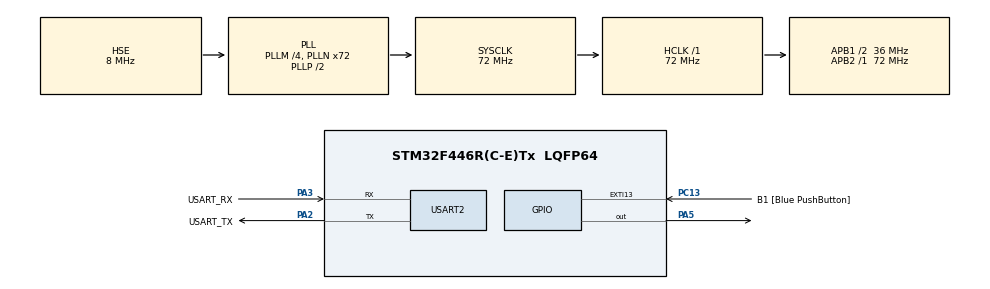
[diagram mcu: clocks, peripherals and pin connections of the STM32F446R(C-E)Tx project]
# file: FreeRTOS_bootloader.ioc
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Mcu.Family=STM32F4
Mcu.Name=STM32F446R(C-E)Tx
Mcu.Package=LQFP64
NVIC.PriorityGroup=NVIC_PRIORITYGROUP_0
PA13.GPIO_Label=TMS
PA13.Mode=Serial_Wire
PA13.Signal=SYS_JTMS-SWDIO
PA14.GPIO_Label=TCK
PA14.Mode=Serial_Wire
PA14.Signal=SYS_JTCK-SWCLK
PA2.GPIO_Label=USART_TX
PA2.Mode=Asynchronous
PA2.Signal=USART2_TX
PA3.GPIO_Label=USART_RX
PA3.Mode=Asynchronous
PA3.Signal=USART2_RX
PA5.Signal=GPIO_Output
PB3.GPIO_Label=SWO
PB3.Signal=SYS_JTDO-SWO
PC13.GPIO_Label=B1 [Blue PushButton]
PC13.GPIO_ModeDefaultEXTI=GPIO_MODE_IT_FALLING
PC13.Signal=GPXTI13
PC14-OSC32_IN.Mode=LSE-External-Oscillator
PC14-OSC32_IN.Signal=RCC_OSC32_IN
PC15-OSC32_OUT.Mode=LSE-External-Oscillator
PC15-OSC32_OUT.Signal=RCC_OSC32_OUT
PH0-OSC_IN.Mode=HSE-External-Oscillator
PH0-OSC_IN.Signal=RCC_OSC_IN
PH1-OSC_OUT.Mode=HSE-External-Oscillator
PH1-OSC_OUT.Signal=RCC_OSC_OUT
ProjectManager.HeapSize=0x200
ProjectManager.StackSize=0x400
ProjectManager.TargetToolchain=STM32CubeIDE
RCC.48MHZClocksFreq_Value=84000000
RCC.AHBFreq_Value=72000000
RCC.APB1CLKDivider=RCC_HCLK_DIV2
RCC.APB1Freq_Value=36000000
RCC.APB1TimFreq_Value=72000000
RCC.APB2Freq_Value=72000000
RCC.APB2TimFreq_Value=72000000
RCC.CortexFreq_Value=72000000
RCC.FLatency-AdvancedSettings=FLASH_LATENCY_2
RCC.HCLKFreq_Value=72000000
RCC.HSE_VALUE=8000000
RCC.HSI_VALUE=16000000
RCC.PLLM=4
RCC.PLLN=72
RCC.PLLQ=3
RCC.PLLSourceVirtual=RCC_PLLSOURCE_HSE
RCC.SYSCLKFreq_VALUE=72000000
RCC.SYSCLKSource=RCC_SYSCLKSOURCE_PLLCLK
RCC.USBFreq_Value=48000000
RCC.VCOOutputFreq_Value=144000000
USART2.VirtualMode=VM_ASYNC
board=NUCLEO-F446RE

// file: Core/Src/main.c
/* USER CODE BEGIN Header */
/**
  ******************************************************************************
  * @file           : main.c
  * @brief          : Main program body
  ******************************************************************************
  * @attention
  *
  * Copyright (c) 2025 STMicroelectronics.
  * All rights reserved.
  *
  * This software is licensed under terms that can be found in the LICENSE file
  * in the root directory of this software component.
  * If no LICENSE file comes with this software, it is provided AS-IS.
  *
  ******************************************************************************
  */
/* USER CODE END Header */
#include "main.h"

/* USER CODE BEGIN Includes */
#include <stdio.h>
#include <string.h>
/* USER CODE END Includes */

/* USER CODE BEGIN PTD */
typedef void (*pFunction)(void);

typedef enum {
    SLOT_A = 0,
    SLOT_B = 1
} app_slot_t;

typedef struct {
	uint32_t is_valid;    // 0xA5A5A5A5 if metadata is valid
	uint32_t version;
    uint32_t active_slot; // SLOT_A or SLOT_B
    uint32_t crc;         // Expected CRC32 of active image
    uint32_t image_size;  // Size of active image in bytes
    uint32_t reserved[2]; // Reserved for future use
} BootMetadata_t;

/* USER CODE END PTD */

/* USER CODE BEGIN PD */
extern uint32_t _estack;  // Defined in linker script
/* USER CODE END PD */

/* USER CODE BEGIN PM */
#define SLOT_A_ADDR   0x08010000
#define SLOT_B_ADDR   0x08040000
#define METADATA_ADDR 0x0800C000

// STM32F446RE RAM range: 0x20000000 - 0x2001FFFF (128KB)
#define RAM_START     0x20000000
#define RAM_END       0x20020000
/* USER CODE END PM */

UART_HandleTypeDef huart2;

/* USER CODE BEGIN PV */
extern int _bflag;

/* USER CODE END PV */

void SystemClock_Config(void);
static void MX_GPIO_Init(void);
static void MX_USART2_UART_Init(void);
/* USER CODE BEGIN PFP */
void jump_to_application(uint32_t app_address);
uint32_t calculate_crc32(uint32_t *data, uint32_t length_words);
uint32_t calculate_flash_crc(uint32_t start_addr, uint32_t size_bytes);
uint8_t validate_crc(uint32_t app_addr, uint32_t expected_crc, uint32_t image_size);
uint8_t is_valid_application(uint32_t app_addr);
HAL_StatusTypeDef initialize_first_boot_metadata();
void check_and_clear_flash_protection();

/* USER CODE END PFP */

/* USER CODE BEGIN 0 */
void log(const char *msg) {
    HAL_UART_Transmit(&huart2, (uint8_t *)msg, strlen(msg), HAL_MAX_DELAY);
}

// Note: Metadata is now dynamically managed in flash
// Initial metadata should be written by OTA process or flash programmer

/* USER CODE END 0 */

int main(void)
{

  /* MCU Configuration--------------------------------------------------------*/

  /* Reset of all peripherals, Initializes the Flash interface and the Systick. */
  HAL_Init();

  /* Configure the system clock */
  SystemClock_Config();

  /* Initialize all configured peripherals */
  MX_GPIO_Init();
  MX_USART2_UART_Init();
  /* USER CODE BEGIN 2 */
  log("Bootloader started...\r\n");

  // Check and clear any flash protection that might interfere with programming
  check_and_clear_flash_protection();

  // Read metadata from flash (not from const section)
  BootMetadata_t *metadata = (BootMetadata_t *)METADATA_ADDR;

  char debug_buf[150];
  sprintf(debug_buf, "Reading metadata from 0x%08X\r\n", (unsigned int)METADATA_ADDR);
  log(debug_buf);

  if (metadata->is_valid != 0xA5A5A5A5) {
	  sprintf(debug_buf, "Metadata invalid! Read value: 0x%08X (expected: 0xA5A5A5A5)\r\n",
	          (unsigned int)metadata->is_valid);
	  log(debug_buf);

	  // First boot - initialize metadata by scanning for valid applications
	  HAL_StatusTypeDef init_status = initialize_first_boot_metadata();
	  if (init_status != HAL_OK) {
		  log("Failed to initialize metadata! Defaulting to Slot A\r\n");
		  jump_to_application(SLOT_A_ADDR);
	  }

	  // Re-read metadata after initialization
	  metadata = (BootMetadata_t *)METADATA_ADDR;
	  if (metadata->is_valid != 0xA5A5A5A5) {
		  log("Metadata still invalid after initialization! Defaulting to Slot A\r\n");
		  jump_to_application(SLOT_A_ADDR);
	  }

	  log("Metadata initialized successfully, continuing with normal boot...\r\n");
  }

  char log_buf[100];
  sprintf(log_buf, "Metadata: ver=0x%08X, slot=%lu, crc=0x%08X, size=%lu\r\n",
          (unsigned int)metadata->version, metadata->active_slot,
          (unsigned int)metadata->crc, metadata->image_size);
  log(log_buf);

  uint32_t target_address = (metadata->active_slot == SLOT_B) ? SLOT_B_ADDR : SLOT_A_ADDR;
  sprintf(log_buf, "Target slot: %s (0x%08X)\r\n",
          (metadata->active_slot == SLOT_B) ? "SLOT_B" : "SLOT_A",
          (unsigned int)target_address);
  log(log_buf);

  // CRC validation of target slot
  if (!validate_crc(target_address, metadata->crc, metadata->image_size)) {
	  log("CRC validation failed! Falling back to Slot A\r\n");
	  target_address = SLOT_A_ADDR;

	  // Also validate Slot A as fallback (skip CRC if different from target)
	  if (metadata->active_slot == SLOT_B) {
		  if (!validate_crc(SLOT_A_ADDR, 0xFFFFFFFF, 0)) {
			  log("Fallback validation failed! Boot may fail.\r\n");
		  }
	  }
  }

  sprintf(log_buf, "Final target: 0x%08X\r\n", (unsigned int)target_address);
  log(log_buf);
  log("Jumping to application...\r\n");
  jump_to_application(target_address);

  /* USER CODE END 2 */

  /* Infinite loop */
  while (1)
  {

  }
}

void SystemClock_Config(void)
{
  RCC_OscInitTypeDef RCC_OscInitStruct = {0};
  RCC_ClkInitTypeDef RCC_ClkInitStruct = {0};

  /** Configure the main internal regulator output voltage
  */
  __HAL_RCC_PWR_CLK_ENABLE();
  __HAL_PWR_VOLTAGESCALING_CONFIG(PWR_REGULATOR_VOLTAGE_SCALE3);

  /** Initializes the RCC Oscillators according to the specified parameters
  * in the RCC_OscInitTypeDef structure.
  */
  RCC_OscInitStruct.OscillatorType = RCC_OSCILLATORTYPE_HSE;
  RCC_OscInitStruct.HSEState = RCC_HSE_ON;
  RCC_OscInitStruct.PLL.PLLState = RCC_PLL_ON;
  RCC_OscInitStruct.PLL.PLLSource = RCC_PLLSOURCE_HSE;
  RCC_OscInitStruct.PLL.PLLM = 4;
  RCC_OscInitStruct.PLL.PLLN = 72;
  RCC_OscInitStruct.PLL.PLLP = RCC_PLLP_DIV2;
  RCC_OscInitStruct.PLL.PLLQ = 3;
  RCC_OscInitStruct.PLL.PLLR = 2;
  if (HAL_RCC_OscConfig(&RCC_OscInitStruct) != HAL_OK)
  {
    Error_Handler();
  }

  /** Initializes the CPU, AHB and APB buses clocks
  */
  RCC_ClkInitStruct.ClockType = RCC_CLOCKTYPE_HCLK|RCC_CLOCKTYPE_SYSCLK
                              |RCC_CLOCKTYPE_PCLK1|RCC_CLOCKTYPE_PCLK2;
  RCC_ClkInitStruct.SYSCLKSource = RCC_SYSCLKSOURCE_PLLCLK;
  RCC_ClkInitStruct.AHBCLKDivider = RCC_SYSCLK_DIV1;
  RCC_ClkInitStruct.APB1CLKDivider = RCC_HCLK_DIV2;
  RCC_ClkInitStruct.APB2CLKDivider = RCC_HCLK_DIV1;

  if (HAL_RCC_ClockConfig(&RCC_ClkInitStruct, FLASH_LATENCY_2) != HAL_OK)
  {
    Error_Handler();
  }
}

static void MX_USART2_UART_Init(void)
{

  huart2.Instance = USART2;
  huart2.Init.BaudRate = 115200;
  huart2.Init.WordLength = UART_WORDLENGTH_8B;
  huart2.Init.StopBits = UART_STOPBITS_1;
  huart2.Init.Parity = UART_PARITY_NONE;
  huart2.Init.Mode = UART_MODE_TX_RX;
  huart2.Init.HwFlowCtl = UART_HWCONTROL_NONE;
  huart2.Init.OverSampling = UART_OVERSAMPLING_16;
  if (HAL_UART_Init(&huart2) != HAL_OK)
  {
    Error_Handler();
  }

}

static void MX_GPIO_Init(void)
{
  GPIO_InitTypeDef GPIO_InitStruct = {0};

  /* GPIO Ports Clock Enable */
  __HAL_RCC_GPIOC_CLK_ENABLE();
  __HAL_RCC_GPIOH_CLK_ENABLE();
  __HAL_RCC_GPIOA_CLK_ENABLE();
  __HAL_RCC_GPIOB_CLK_ENABLE();

  /*Configure GPIO pin Output Level */
  HAL_GPIO_WritePin(GPIOA, GPIO_PIN_5, GPIO_PIN_RESET);

  /*Configure GPIO pin : B1_Pin */
  GPIO_InitStruct.Pin = B1_Pin;
  GPIO_InitStruct.Mode = GPIO_MODE_IT_FALLING;
  GPIO_InitStruct.Pull = GPIO_NOPULL;
  HAL_GPIO_Init(B1_GPIO_Port, &GPIO_InitStruct);

  /*Configure GPIO pin : PA5 */
  GPIO_InitStruct.Pin = GPIO_PIN_5;
  GPIO_InitStruct.Mode = GPIO_MODE_OUTPUT_PP;
  GPIO_InitStruct.Pull = GPIO_NOPULL;
  GPIO_InitStruct.Speed = GPIO_SPEED_FREQ_LOW;
  HAL_GPIO_Init(GPIOA, &GPIO_InitStruct);

}

/* USER CODE BEGIN 4 */
void jump_to_application(uint32_t app_address)
{
    // Read vector table from application
    uint32_t sp = *(volatile uint32_t *)app_address;
    uint32_t reset_handler = *(volatile uint32_t *)(app_address + 4);

    char log_buf[100];

    //App jump debug logs
    log("Reading vector table:\r\n");
    sprintf(log_buf, "  App Address: 0x%08X\r\n", (unsigned int)app_address);
    log(log_buf);
    sprintf(log_buf, "  Stack Pointer: 0x%08X\r\n", (unsigned int)sp);
    log(log_buf);
    sprintf(log_buf, "  Reset Handler: 0x%08X\r\n", (unsigned int)reset_handler);
    log(log_buf);

    // Validate the stack pointer (should be in RAM range)
    if ((sp < RAM_START) || (sp > RAM_END)) {
    	log("Invalid stack pointer! Using bootloader stack.\r\n");
        sp = (uint32_t)&_estack;  // Use bootloader's stack if app stack is invalid
        sprintf(log_buf, "  Using bootloader stack: 0x%08X\r\n", (unsigned int)sp);
        log(log_buf);
    }

    // Validate reset handler (should be in flash range and odd for Thumb)
    if ((reset_handler < 0x08000000) || (reset_handler >= 0x08080000) || ((reset_handler & 0x1) == 0)) {
    	log("Invalid reset handler address!\r\n");
        Error_Handler();
    }

    log("Preparing for jump:\r\n");

    // Disable all interrupts
    __disable_irq();

    // Deinitialize HAL and peripherals
    HAL_UART_DeInit(&huart2);
    HAL_DeInit();

    // Clear all pending interrupts
    for (int i = 0; i < 8; i++) {
    	NVIC->ICER[i] = 0xFFFFFFFF;  // Disable interrupts
        NVIC->ICPR[i] = 0xFFFFFFFF;   // Clear pending interrupts
    }

    // Data Synchronization Barrier
    __DSB();

    // Set Vector Table Offset Register to point to application
    SCB->VTOR = app_address;

    // Instruction Synchronization Barrier
    __ISB();

    // Set Main Stack Pointer
    __set_MSP(sp);

    // Jump to application
    pFunction app_entry = (pFunction)reset_handler;
    app_entry();

    // Should never reach here
    while(1);
}

uint32_t calculate_crc32(uint32_t *data, uint32_t length_words)
{
    uint32_t crc = 0xFFFFFFFF;

    for (uint32_t i = 0; i < length_words; i++) {
        uint32_t word = data[i];

        // Process each byte in the word
        for (int byte = 0; byte < 4; byte++) {
            uint8_t current_byte = (word >> (byte * 8)) & 0xFF;
            crc ^= current_byte;

            for (int bit = 0; bit < 8; bit++) {
                if (crc & 1) {
                    crc = (crc >> 1) ^ 0xEDB88320; // CRC32 polynomial
                } else {
                    crc >>= 1;
                }
            }
        }
    }

    return ~crc;
}

uint32_t calculate_flash_crc(uint32_t start_addr, uint32_t size_bytes)
{
    // Ensure size is word-aligned
    uint32_t size_words = (size_bytes + 3) / 4;
    uint32_t *flash_ptr = (uint32_t *)start_addr;

    char log_buf[100];
    sprintf(log_buf, "Calculating CRC: addr=0x%08X, size=%lu bytes (%lu words)\r\n",
            (unsigned int)start_addr, size_bytes, size_words);
    log(log_buf);

    return calculate_crc32(flash_ptr, size_words);
}

uint8_t is_valid_application(uint32_t app_addr)
{
    // Read the stack pointer and reset handler from the application's vector table
    uint32_t sp = *(volatile uint32_t *)app_addr;
    uint32_t reset_handler = *(volatile uint32_t *)(app_addr + 4);

    // Validate stack pointer (should be in RAM range)
    if ((sp < RAM_START) || (sp > RAM_END)) {
        return 0;
    }

    // Validate reset handler (should be in flash range and odd for Thumb mode)
    if ((reset_handler < 0x08000000) || (reset_handler >= 0x08080000) || ((reset_handler & 0x1) == 0)) {
        return 0;
    }

    // Check if the application area is not all 0xFF (erased flash)
    uint32_t *app_data = (uint32_t *)app_addr;
    uint8_t all_erased = 1;
    for (int i = 0; i < 64; i++) { // Check first 256 bytes
        if (app_data[i] != 0xFFFFFFFF) {
            all_erased = 0;
            break;
        }
    }

    return !all_erased;
}

HAL_StatusTypeDef initialize_first_boot_metadata()
{
    char log_buf[150];
    log("First boot detected - scanning for valid application...\r\n");

    uint8_t slot_a_valid = is_valid_application(SLOT_A_ADDR);
    uint8_t slot_b_valid = is_valid_application(SLOT_B_ADDR);

    sprintf(log_buf, "Slot A (0x%08X): %s\r\n", (unsigned int)SLOT_A_ADDR,
            slot_a_valid ? "VALID" : "INVALID");
    log(log_buf);
    sprintf(log_buf, "Slot B (0x%08X): %s\r\n", (unsigned int)SLOT_B_ADDR,
            slot_b_valid ? "VALID" : "INVALID");
    log(log_buf);

    // Create default metadata structure
    BootMetadata_t new_metadata;
    new_metadata.is_valid = 0xA5A5A5A5;
    new_metadata.version = 0x00010001;
    new_metadata.active_slot = SLOT_A;  // Default to Slot A
    new_metadata.crc = 0xFFFFFFFF;      // No CRC check initially
    new_metadata.image_size = 0;        // Unknown size
    new_metadata.reserved[0] = 0;
    new_metadata.reserved[1] = 0;

    // Determine which slot to use
    if (slot_a_valid && !slot_b_valid) {
        new_metadata.active_slot = SLOT_A;
        log("Using Slot A as active slot\r\n");
    } else if (!slot_a_valid && slot_b_valid) {
        new_metadata.active_slot = SLOT_B;
        log("Using Slot B as active slot\r\n");
    } else if (slot_a_valid && slot_b_valid) {
        new_metadata.active_slot = SLOT_A; // Prefer Slot A if both valid
        log("Both slots valid - defaulting to Slot A\r\n");
    } else {
        log("No valid application found! Defaulting to Slot A\r\n");
        new_metadata.active_slot = SLOT_A;
    }

    // Write metadata to flash
    HAL_StatusTypeDef status = HAL_FLASH_Unlock();
    if (status != HAL_OK) {
        log("Flash unlock failed for metadata initialization\r\n");
        return status;
    }

    // Erase metadata sector
    FLASH_EraseInitTypeDef eraseInit = {
        .TypeErase = FLASH_TYPEERASE_SECTORS,
        .VoltageRange = FLASH_VOLTAGE_RANGE_3,
        .Sector = FLASH_SECTOR_3,
        .NbSectors = 1
    };

    uint32_t sectorError;
    status = HAL_FLASHEx_Erase(&eraseInit, &sectorError);
    if (status != HAL_OK) {
        sprintf(log_buf, "Metadata sector erase failed: %d\r\n", status);
        log(log_buf);
        HAL_FLASH_Lock();
        return status;
    }

    // Write metadata word by word
    uint32_t *metadata_ptr = (uint32_t *)&new_metadata;
    uint32_t metadata_words = sizeof(BootMetadata_t) / 4;

    for (uint32_t i = 0; i < metadata_words; i++) {
        status = HAL_FLASH_Program(FLASH_TYPEPROGRAM_WORD,
                                   METADATA_ADDR + (i * 4),
                                   metadata_ptr[i]);
        if (status != HAL_OK) {
            sprintf(log_buf, "Metadata write failed at word %lu\r\n", i);
            log(log_buf);
            HAL_FLASH_Lock();
            return status;
        }
    }

    HAL_FLASH_Lock();
    log("First boot metadata initialized successfully\r\n");
    return HAL_OK;
}

void check_and_clear_flash_protection()
{
    // Check current RDP level
    uint8_t rdp_level = (FLASH->OPTCR & FLASH_OPTCR_RDP) >> FLASH_OPTCR_RDP_Pos;

    char log_buf[100];
    sprintf(log_buf, "Flash RDP level: 0x%02X\r\n", rdp_level);
    log(log_buf);

    // Check write protection status
    uint32_t wrp_sectors = (FLASH->OPTCR & FLASH_OPTCR_nWRP) >> FLASH_OPTCR_nWRP_Pos;
    sprintf(log_buf, "Write protection: 0x%03X (0=protected, 1=unprotected)\r\n", wrp_sectors);
    log(log_buf);

    // Only clear protection if there are issues (avoid unnecessary flash cycles)
    if (rdp_level != 0xAA || wrp_sectors != 0xFFF) {
        log("Flash protection detected - will be cleared during OTA operations\r\n");
    } else {
        log("Flash protection: OK\r\n");
    }
}

uint8_t validate_crc(uint32_t app_addr, uint32_t expected_crc, uint32_t image_size)
{
    if (expected_crc == 0xFFFFFFFF) {
        log("CRC validation skipped (no expected CRC)\r\n");
        return 1; // Skip validation if no CRC is set
    }

    // Use provided image size, or default to 192KB if not specified
    uint32_t app_size = (image_size > 0 && image_size <= (192 * 1024)) ?
                        image_size : (192 * 1024);

    uint32_t calculated_crc = calculate_flash_crc(app_addr, app_size);

    char log_buf[100];
    sprintf(log_buf, "CRC check: expected=0x%08X, calculated=0x%08X (size=%lu)\r\n",
            (unsigned int)expected_crc, (unsigned int)calculated_crc, app_size);
    log(log_buf);

    if (calculated_crc == expected_crc) {
        log("CRC validation: PASS\r\n");
        return 1;
    } else {
        log("CRC validation: FAIL\r\n");
        return 0;
    }
}
/* USER CODE END 4 */

void Error_Handler(void)
{
  __disable_irq();
  while (1)
  {
  }
}
